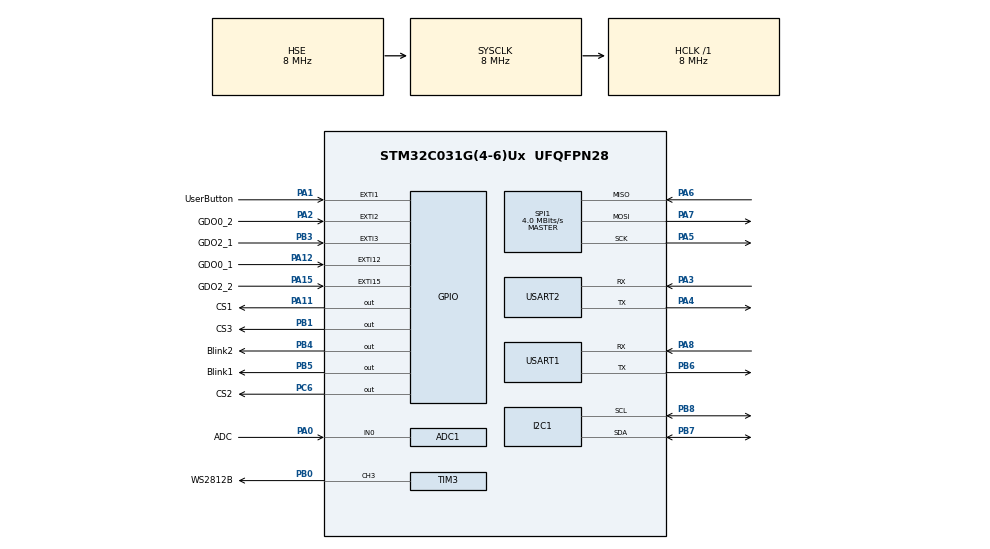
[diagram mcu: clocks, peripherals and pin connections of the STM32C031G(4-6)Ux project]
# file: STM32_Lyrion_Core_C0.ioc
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ADC1.NbrOfConversionFlag=0
ADC1.SelectedChannel=ADC_CHANNEL_0
ADC1.master=1
Dma.Request0=TIM3_CH3
Dma.TIM3_CH3.0.Direction=DMA_MEMORY_TO_PERIPH
Dma.TIM3_CH3.0.EventEnable=DISABLE
Dma.TIM3_CH3.0.Instance=DMA1_Channel1
Dma.TIM3_CH3.0.MemDataAlignment=DMA_MDATAALIGN_HALFWORD
Dma.TIM3_CH3.0.MemInc=DMA_MINC_ENABLE
Dma.TIM3_CH3.0.Mode=DMA_NORMAL
Dma.TIM3_CH3.0.PeriphDataAlignment=DMA_PDATAALIGN_HALFWORD
Dma.TIM3_CH3.0.PeriphInc=DMA_PINC_DISABLE
Dma.TIM3_CH3.0.Polarity=HAL_DMAMUX_REQ_GEN_RISING
Dma.TIM3_CH3.0.Priority=DMA_PRIORITY_LOW
Dma.TIM3_CH3.0.RequestNumber=1
Dma.TIM3_CH3.0.SignalID=NONE
Dma.TIM3_CH3.0.SyncEnable=DISABLE
Dma.TIM3_CH3.0.SyncPolarity=HAL_DMAMUX_SYNC_NO_EVENT
Dma.TIM3_CH3.0.SyncRequestNumber=1
Dma.TIM3_CH3.0.SyncSignalID=NONE
I2C1.Timing=0x00201D2B
Mcu.Family=STM32C0
Mcu.Name=STM32C031G(4-6)Ux
Mcu.Package=UFQFPN28
NVIC.DMA1_Channel1_IRQn=true\:0\:0\:false\:false\:true\:false\:true\:true
NVIC.EXTI0_1_IRQn=true\:0\:0\:false\:true\:true\:1\:true\:true\:true
NVIC.EXTI2_3_IRQn=true\:0\:0\:false\:true\:true\:4\:true\:true\:true
NVIC.EXTI4_15_IRQn=true\:0\:0\:false\:true\:true\:3\:true\:true\:true
NVIC.USART1_IRQn=true\:0\:0\:false\:true\:true\:2\:true\:true\:true
PA0.GPIO_Label=ADC
PA0.Mode=IN0
PA0.Signal=ADC1_IN0
PA1.GPIO_Label=UserButton
PA1.GPIO_PuPd=GPIO_PULLDOWN
PA1.Signal=GPXTI1
PA11\ [PA9].GPIO_Label=CS1
PA11\ [PA9].Signal=GPIO_Output
PA12\ [PA10].GPIO_Label=GDO0_1
PA12\ [PA10].GPIO_ModeDefaultEXTI=GPIO_MODE_IT_FALLING
PA12\ [PA10].GPIO_PuPd=GPIO_PULLDOWN
PA12\ [PA10].Signal=GPXTI12
PA13.Mode=Serial_Wire
PA13.Signal=DEBUG_SWDIO
PA14-BOOT0.Mode=Serial_Wire
PA14-BOOT0.Signal=DEBUG_SWCLK
PA15.GPIO_Label=GDO2_2
PA15.GPIO_PuPd=GPIO_PULLDOWN
PA15.Signal=GPXTI15
PA2.GPIO_Label=GDO0_2
PA2.GPIO_ModeDefaultEXTI=GPIO_MODE_IT_FALLING
PA2.GPIO_PuPd=GPIO_PULLDOWN
PA2.Signal=GPXTI2
PA3.Mode=Asynchronous
PA3.Signal=USART2_RX
PA4.Mode=Asynchronous
PA4.Signal=USART2_TX
PA5.Mode=Full_Duplex_Master
PA5.Signal=SPI1_SCK
PA6.Mode=Full_Duplex_Master
PA6.Signal=SPI1_MISO
PA7.Mode=Full_Duplex_Master
PA7.Signal=SPI1_MOSI
PA8.Mode=Asynchronous
PA8.Signal=USART1_RX
PB0.GPIO_Label=WS2812B
PB0.Signal=S_TIM3_CH3
PB1.GPIO_Label=CS3
PB1.Signal=GPIO_Output
PB3.GPIO_Label=GDO2_1
PB3.GPIO_PuPd=GPIO_PULLDOWN
PB3.Signal=GPXTI3
PB4.GPIO_Label=Blink2
PB4.Signal=GPIO_Output
PB5.GPIO_Label=Blink1
PB5.Signal=GPIO_Output
PB6.Mode=Asynchronous
PB6.Signal=USART1_TX
PB7.Mode=I2C
PB7.Signal=I2C1_SDA
PB8.Mode=I2C
PB8.Signal=I2C1_SCL
PC14-OSCX_IN\ (PC14).Mode=HSE-External-Oscillator-REMAPPED
PC14-OSCX_IN\ (PC14).Signal=RCC_OSCX_IN
PC15-OSCX_OUT\ (PC15).Mode=HSE-External-Oscillator-REMAPPED
PC15-OSCX_OUT\ (PC15).Signal=RCC_OSCX_OUT
PC6.GPIO_Label=CS2
PC6.Signal=GPIO_Output
ProjectManager.HeapSize=0x200
ProjectManager.StackSize=0x400
ProjectManager.TargetToolchain=STM32CubeIDE
RCC.ADCFreq_Value=8000000
RCC.AHBFreq_Value=8000000
RCC.CortexFreq_Value=8000000
RCC.EXTERNAL_CLOCK_VALUE=12288000
RCC.HCLKFreq_Value=8000000
RCC.HSE_VALUE=8000000
RCC.HSI_VALUE=48000000
RCC.LSE_VALUE=32768
RCC.SYSCLKFreq_VALUE=8000000
RCC.SYSCLKSource=RCC_SYSCLKSOURCE_HSE
SH.S_TIM3_CH3.0=TIM3_CH3,PWM Generation3 CH3
SPI1.CalculateBaudRate=4.0 MBits/s
SPI1.Direction=SPI_DIRECTION_2LINES
SPI1.Mode=SPI_MODE_MASTER
SPI1.VirtualType=VM_MASTER
TIM3.Channel-PWM\ Generation3\ CH3=TIM_CHANNEL_3
TIM3.Period=10-1
USART1.AutoBaudRateEnableParam=UART_ADVFEATURE_AUTOBAUDRATE_DISABLE
USART1.VirtualMode-Asynchronous=VM_ASYNC
USART2.VirtualMode-Asynchronous=VM_ASYNC
board=custom

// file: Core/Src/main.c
/* USER CODE BEGIN Header */
/**
  ******************************************************************************
  * @file           : main.c
  * @brief          : Main program body
  ******************************************************************************
  * @attention
  *
  * Copyright (c) 2026 STMicroelectronics.
  * All rights reserved.
  *
  * This software is licensed under terms that can be found in the LICENSE file
  * in the root directory of this software component.
  * If no LICENSE file comes with this software, it is provided AS-IS.
  *
  ******************************************************************************
  */
/* USER CODE END Header */
#include "main.h"

/* USER CODE BEGIN Includes */
#include "config.h"

#if ENABLE_WS2812
	#include "ws2812.h"
#endif
#if ENABLE_OLED
	    #include "ssd1306.h"
	#include "ssd1306_fonts.h"
#endif
#if ENABLE_TMP102
	#include "tmp102.h"
#endif
#if ENABLE_CC1101
	#include "cc1101.h"
	#include "cc1101_port.h"
#endif
#if ENABLE_AES
	#include "aes128.h"
	#include "ccm.h"
	#include "key.h"
#endif
#if ENABLE_CC1101
	#include "lyrion_link.h"
	#include "lyrion_link_types.h"
	#include "lyrion_link_packet.h"
#endif
#include <string.h>
/* USER CODE END Includes */

ADC_HandleTypeDef hadc1;

I2C_HandleTypeDef hi2c1;

SPI_HandleTypeDef hspi1;

TIM_HandleTypeDef htim3;
DMA_HandleTypeDef hdma_tim3_ch3;

UART_HandleTypeDef huart1;
UART_HandleTypeDef huart2;

/* USER CODE BEGIN PV */
uint8_t rxByte;
uint32_t lastTick = 0;
volatile uint8_t led_event = 0;       /* set to 1 by EXTI callback (LED toggled) */
#if ENABLE_I2C_SCAN
static const char hex_chars[] = "0123456789ABCDEF";
uint32_t i2c_scan_lastTick = 0;
uint32_t i2c_scan_address = 0;   /* 0 = idle, 1-127 = currently scanning */
uint8_t  i2c_scan_found = 0;    /* device count during current scan */
uint8_t  i2c_found_addrs[16];   /* addresses of found devices (7-bit) */
#endif
  #if ENABLE_CC1101
  #if CC1101_ENABLE_RADIO1
  cc1101_t radio1;
  #endif
  #if CC1101_ENABLE_RADIO2
  cc1101_t radio2;
  #endif
  static cc1101_t *cc1101_radio1     = NULL;
  static char       cc1101_rx_msg[22];
  static int8_t     cc1101_rx_rssi   = 0;
  static uint8_t    cc1101_rx_lqi    = 0;
  static volatile bool cc1101_rx_ready = false;
  #endif
  /* USER CODE END PV */

void SystemClock_Config(void);
static void MX_GPIO_Init(void);
static void MX_DMA_Init(void);
static void MX_I2C1_Init(void);
static void MX_SPI1_Init(void);
static void MX_USART1_UART_Init(void);
static void MX_USART2_UART_Init(void);
static void MX_ADC1_Init(void);
static void MX_TIM3_Init(void);
static void MX_NVIC_Init(void);

/* USER CODE BEGIN 0 */

/* Tiny uint-to-string helper for the OLED uptime line (avoids pulling stdio). */
static int uitoa(uint32_t value, char *out)
{
    char tmp[11];
    int i = 0;
    int len = 0;

    if (value == 0)
    {
        out[0] = '0';
        return 1;
    }

    while (value > 0)
    {
        tmp[i++] = (char)('0' + (value % 10U));
        value /= 10U;
    }

    while (i > 0)
    {
        out[len++] = tmp[--i];
    }
    return len;
}

#if ENABLE_TMP102 && ENABLE_OLED
/* Draw temperature on OLED line y=24 (blue area). */
static void oled_show_temp(int16_t temp)
{
    char buf[16];
    ssd1306_SetCursor(2, 8);
    ssd1306_WriteString("Temp: ", Font_6x8, White);

    if (temp == TMP102_ERROR)
    {
        ssd1306_WriteString("ERR", Font_6x8, White);
        return;
    }

    /* Handle sign for negative temperatures. */
    int32_t abs_val = temp;
    int idx = 0;
    if (abs_val < 0)
    {
        buf[idx++] = '-';
        abs_val = -abs_val;
    }

#if TMP102_DECIMAL_PLACES == 0
    idx += uitoa((uint32_t)abs_val, &buf[idx]);
#elif TMP102_DECIMAL_PLACES == 1
    idx += uitoa((uint32_t)(abs_val / 10), &buf[idx]);
    buf[idx++] = '.';
    buf[idx++] = (char)('0' + (abs_val % 10));
#elif TMP102_DECIMAL_PLACES == 2
    idx += uitoa((uint32_t)(abs_val / 100), &buf[idx]);
    buf[idx++] = '.';
    buf[idx++] = (char)('0' + ((abs_val / 10) % 10));
    buf[idx++] = (char)('0' + (abs_val % 10));
#endif
    buf[idx++] = ' ';    /* space before "C" (0xB0 degree sign not in Font6x8) */
    buf[idx++] = 'C';
    buf[idx]   = '\0';
    ssd1306_WriteString(buf, Font_6x8, White);
}
#endif

#if ENABLE_CC1101
/* Called from EXTI (rising edge on GDO0) — must be tiny, just set a flag. */
static void on_cc1101_rx_data(void)
{
    cc1101_rx_ready = true;
}
#endif

#if ENABLE_CC1101 && ENABLE_OLED
static void oled_show_rx(const char *msg, int8_t rssi, uint8_t lqi)
{
    char buf[22];

    ssd1306_FillRectangle(2, 16, 127, 31, Black);

    /* Line 2 (y=16): message */
    ssd1306_SetCursor(2, 16);
    ssd1306_WriteString("RX: ", Font_6x8, White);
    ssd1306_WriteString((char *)msg, Font_6x8, White);

    /* Line 3 (y=24): RSSI and LQI */
    ssd1306_SetCursor(2, 24);
    int idx = 0;
    static const char rp[] = "RSSI: ";
    for (; idx < (int)sizeof(rp) - 1; idx++) buf[idx] = rp[idx];
    int32_t abs_rssi = (rssi < 0) ? -rssi : rssi;
    if (rssi < 0) buf[idx++] = '-';
    idx += uitoa((uint32_t)abs_rssi, &buf[idx]);
    buf[idx++] = ' ';
    buf[idx++] = 'd'; buf[idx++] = 'B'; buf[idx++] = 'm';
    buf[idx++] = ' '; buf[idx++] = ' ';
    buf[idx++] = 'L'; buf[idx++] = 'Q'; buf[idx++] = 'I'; buf[idx++] = ':';
    idx += uitoa(lqi, &buf[idx]);
    buf[idx] = '\0';
    ssd1306_WriteString(buf, Font_6x8, White);
}
#endif

#if ENABLE_CC1101 && ENABLE_AES
/* Lyrion Link callback: when a text packet is received, display it on
 * the OLED and print to UART. */
static void ll_on_text(uint16_t src, const char *text, size_t len,
                       int8_t rssi, uint8_t lqi)
{
    #if ENABLE_UART1 && UART_DEBUG
    char buf[48];
    int idx = 0;
    static const char p0[] = "LL RX 0x";
    memcpy(&buf[idx], p0, sizeof(p0) - 1); idx += (int)(sizeof(p0) - 1);
    idx += uitoa(src, &buf[idx]);  /* hex would be better but uitoa is dec */
    static const char p1[] = " RSSI=";
    memcpy(&buf[idx], p1, sizeof(p1) - 1); idx += (int)(sizeof(p1) - 1);
    if (rssi < 0) { buf[idx++] = '-'; rssi = -rssi; }
    idx += uitoa((uint32_t)rssi, &buf[idx]);
    static const char p2[] = " LQI=";
    memcpy(&buf[idx], p2, sizeof(p2) - 1); idx += (int)(sizeof(p2) - 1);
    idx += uitoa(lqi, &buf[idx]);
    static const char p3[] = ": ";
    memcpy(&buf[idx], p3, sizeof(p3) - 1); idx += (int)(sizeof(p3) - 1);
    buf[idx] = '\0';
    HAL_UART_Transmit(&huart1, (uint8_t *)buf, idx, 100);
    HAL_UART_Transmit(&huart1, (uint8_t *)text, len, 100);
    HAL_UART_Transmit(&huart1, (uint8_t *)"\r\n", 2, 100);
    #endif

    #if ENABLE_OLED
    char oled_buf[22];
    int oi = 0;
    static const char op0[] = "R:";
    memcpy(&oled_buf[oi], op0, sizeof(op0) - 1); oi += (int)(sizeof(op0) - 1);
    if (rssi < 0) { oled_buf[oi++] = '-'; rssi = -rssi; }
    oi += uitoa((uint32_t)rssi, &oled_buf[oi]);
    static const char op1[] = " LQI:";
    memcpy(&oled_buf[oi], op1, sizeof(op1) - 1); oi += (int)(sizeof(op1) - 1);
    oi += uitoa(lqi, &oled_buf[oi]);
    oled_buf[oi] = '\0';

    ssd1306_FillRectangle(2, 16, 127, 31, Black);
    ssd1306_SetCursor(2, 16);
    ssd1306_WriteString("RX: ", Font_6x8, White);
    ssd1306_WriteString(text, Font_6x8, White);
    ssd1306_SetCursor(2, 24);
    ssd1306_WriteString(oled_buf, Font_6x8, White);
    ssd1306_UpdateScreen();
    #endif
}

static const ll_callbacks_t ll_cbs = {
    .on_text_received = ll_on_text,
};
#endif

/* USER CODE END 0 */

int main(void)
{

  /* MCU Configuration--------------------------------------------------------*/

  /* Reset of all peripherals, Initializes the Flash interface and the Systick. */
  HAL_Init();

  /* Configure the system clock */
  SystemClock_Config();

  /* USER CODE BEGIN SysInit */
  /* If HSE failed to start, fall back to HSI (48 MHz internal oscillator). */
  if ((RCC->CR & RCC_CR_HSERDY) == 0)
  {
      RCC_OscInitTypeDef RCC_OscInitStruct = {0};
      RCC_ClkInitTypeDef RCC_ClkInitStruct = {0};

      RCC_OscInitStruct.OscillatorType = RCC_OSCILLATORTYPE_HSI;
      RCC_OscInitStruct.HSIState = RCC_HSI_ON;
      RCC_OscInitStruct.HSICalibrationValue = RCC_HSICALIBRATION_DEFAULT;
      if (HAL_RCC_OscConfig(&RCC_OscInitStruct) != HAL_OK)
      {
          Error_Handler();
      }

      RCC_ClkInitStruct.ClockType = RCC_CLOCKTYPE_HCLK|RCC_CLOCKTYPE_SYSCLK|RCC_CLOCKTYPE_PCLK1;
      RCC_ClkInitStruct.SYSCLKSource = RCC_SYSCLKSOURCE_HSI;
      RCC_ClkInitStruct.SYSCLKDivider = RCC_SYSCLK_DIV1;
      RCC_ClkInitStruct.AHBCLKDivider = RCC_HCLK_DIV1;
      RCC_ClkInitStruct.APB1CLKDivider = RCC_APB1_DIV1;
      if (HAL_RCC_ClockConfig(&RCC_ClkInitStruct, FLASH_LATENCY_0) != HAL_OK)
      {
          Error_Handler();
      }
  }

  /* USER CODE END SysInit */

  /* Initialize all configured peripherals */
  MX_GPIO_Init();
  MX_DMA_Init();
  #if ENABLE_I2C
  MX_I2C1_Init();
  #endif
  #if ENABLE_SPI
  MX_SPI1_Init();
  #endif
  #if ENABLE_UART1
  MX_USART1_UART_Init();
  #endif
  #if ENABLE_UART2
  MX_USART2_UART_Init();
  #endif
  #if ENABLE_ADC
  MX_ADC1_Init();
  #endif
  #if ENABLE_WS2812
  MX_TIM3_Init();
  #endif

  /* Initialize interrupts */
  MX_NVIC_Init();
  /* USER CODE BEGIN 2 */
  /* Trigger the first OLED 1-second tick immediately on entering the
     main loop, so status text appears right away. */
  lastTick = HAL_GetTick() - 1000;

  #if ENABLE_UART1 && UART_DEBUG
  HAL_UART_Transmit(&huart1, (uint8_t *)"BOOT\r\n", 6, 100);
  #endif

 #if !ENABLE_UART1
  /* Disable USART1 interrupt if UART1 is not enabled (MX_NVIC_Init enables it unconditionally). */
  HAL_NVIC_DisableIRQ(USART1_IRQn);
  #endif
  #if ENABLE_WS2812
	  WS2812_Init();
  #endif
  #if ENABLE_OLED
	  ssd1306_Init();
  #endif

  #if ENABLE_WS2812
  WS2812_SetBrightness(0, 16);   // LED 0: 32/255 ~ 13%
  WS2812_SetBrightness(1, 16);   // LED 1: 32/255 ~ 13%
  #endif

  #if ENABLE_OLED
  ssd1306_Fill(Black);
  ssd1306_SetCursor(2, 0);
  ssd1306_WriteString("Lyrion Core C0", Font_6x8, White);
  #endif

  #if ENABLE_TMP102
  TMP102_SetConversionRate(&hi2c1, TMP102_CONV_RATE);
  #if ENABLE_OLED
  oled_show_temp(TMP102_ReadTemp(&hi2c1));
  #endif
  #endif

  #if ENABLE_OLED
  ssd1306_UpdateScreen();
  #endif

  #if ENABLE_UART1
  HAL_UART_Receive_IT(&huart1, &rxByte, 1);
  #endif

  #if ENABLE_I2C_SCAN
  /* Kick off the first I2C scan immediately at startup. */
  i2c_scan_address = 1;
  i2c_scan_found = 0;
  #endif

  #if ENABLE_CC1101
  /* SPI MISO pin for waitReady() polling (PA6 on this board). */
  #define CC1101_MISO_PORT  GPIOA
  #define CC1101_MISO_PIN   GPIO_PIN_6
  {
      uint8_t radios_ok = 0;
  #if CC1101_ENABLE_RADIO1
      cc1101_config_t cfg1 = {
          .spi = &hspi1,
          .cs_port = CS1_GPIO_Port,   .cs_pin   = CS1_Pin,
          .miso_port = CC1101_MISO_PORT, .miso_pin = CC1101_MISO_PIN,
          .gdo0_port = GDO0_1_GPIO_Port, .gdo0_pin = GDO0_1_Pin,
          .gdo2_port = GDO2_1_GPIO_Port, .gdo2_pin = GDO2_1_Pin,
      };
      cc1101_status_t st1 = cc1101_init(&radio1, &cfg1, CC1101_MOD_ASK_OOK,
                                         433.5f, 4.0f);
      if (st1 != CC1101_STATUS_OK) {
          #if ENABLE_UART1 && UART_DEBUG
          HAL_UART_Transmit(&huart1, (uint8_t *)"R1: FAIL\r\n", 9, 100);
          #endif
      } else {
          radios_ok++;
          cc1101_radio1 = &radio1;
          #if ENABLE_UART1 && UART_DEBUG
          HAL_UART_Transmit(&huart1, (uint8_t *)"R1: OK\r\n", 8, 100);
          #endif
      }
  #endif
  #if CC1101_ENABLE_RADIO2
      cc1101_config_t cfg2 = {
          .spi = &hspi1,
          .cs_port = CS2_GPIO_Port,   .cs_pin   = CS2_Pin,
          .miso_port = CC1101_MISO_PORT, .miso_pin = CC1101_MISO_PIN,
          .gdo0_port = GDO0_2_GPIO_Port, .gdo0_pin = GDO0_2_Pin,
          .gdo2_port = GDO2_2_GPIO_Port, .gdo2_pin = GDO2_2_Pin,
      };
      cc1101_status_t st2 = cc1101_init(&radio2, &cfg2, CC1101_MOD_ASK_OOK,
                                         433.5f, 4.0f);
      if (st2 != CC1101_STATUS_OK) {
          #if ENABLE_UART1 && UART_DEBUG
          HAL_UART_Transmit(&huart1, (uint8_t *)"R2: FAIL\r\n", 9, 100);
          #endif
      } else {
          radios_ok++;
          (void)radio2;
          #if ENABLE_UART1 && UART_DEBUG
          HAL_UART_Transmit(&huart1, (uint8_t *)"R2: OK\r\n", 8, 100);
          #endif
      }
  #endif
      (void)radios_ok;

      if (cc1101_radio1) {
          cc1101_t *r = cc1101_radio1;

          cc1101_set_modulation(r, CC1101_MOD_ASK_OOK);
          cc1101_set_frequency(r, 433.8f);
          cc1101_set_data_rate(r, 1.0f);
          cc1101_set_output_power(r, 10);

          cc1101_set_packet_length_mode(r, CC1101_PKT_LEN_MODE_VARIABLE, 255);
          cc1101_set_address_filtering_mode(r, CC1101_ADDR_FILTER_MODE_NONE);
          cc1101_set_preamble_length(r, 64);
          cc1101_set_sync_word(r, 0x1234);
          cc1101_set_sync_mode(r, CC1101_SYNC_MODE_16_16);
          cc1101_set_crc(r, true);
          cc1101_set_data_whitening(r, true);
          cc1101_set_manchester(r, false);
          cc1101_set_fec(r, false);

          #if ENABLE_CC1101 && ENABLE_AES
          /* Initialise Lyrion Link protocol stack. The library handles
           * AES-CCM encryption, packet framing, and SEQ duplicate
           * detection. The callbacks were registered earlier in USER CODE 0. */
          ll_config_t ll_cfg = {
              .address              = LL_NODE_ADDRESS,
              .network_id           = LL_NETWORK_ID,
              .band                 = LL_BAND,
              .channel_hz           = 433800000,
              .data_rate_index      = 1,    /* 10 kBaud */
              .output_power_index   = 7,    /* +10 dBm */
              .beacon_interval_s    = 0,    /* disabled */
              .mesh_enabled         = false,
          };
          ll_set_callbacks(&ll_cbs);
          ll_init(&ll_cfg);
          #endif

          cc1101_set_receive_action(r, on_cc1101_rx_data, CC1101_GDO0);
          cc1101_start_receive(r, 0);
      }
  }
  #endif

  /* USER CODE END 2 */

  /* Infinite loop */
  while (1)
  {

    /* USER CODE BEGIN 3 */
	#if ENABLE_WS2812
	WS2812_Example1();
	#endif

	#if ENABLE_CC1101
	#if ENABLE_CC1101 && ENABLE_AES
	/* Lyrion Link: handles AES-CCM RX, SEQ duplicate detection, and
	 * message dispatch via callbacks registered in USER CODE 0. */
	ll_task();
	#else
	/* Plaintext CC1101 RX (no encryption). */
	if (cc1101_radio1 && cc1101_rx_ready) {
	    cc1101_rx_ready = false;
	    uint8_t rx_buf[64];
	    size_t  rx_len = 0;
	    cc1101_status_t st = cc1101_read_data(cc1101_radio1, rx_buf,
	                                           sizeof(rx_buf), &rx_len);
	    if (st == CC1101_STATUS_OK) {
	        rx_buf[rx_len] = '\0';
	        size_t copy_len = rx_len;
	        if (copy_len >= sizeof(cc1101_rx_msg))
	            copy_len = sizeof(cc1101_rx_msg) - 1;
	        memcpy(cc1101_rx_msg, rx_buf, copy_len);
	        cc1101_rx_msg[copy_len] = '\0';
	        cc1101_rx_rssi  = cc1101_get_rssi(cc1101_radio1);
	        cc1101_rx_lqi   = cc1101_get_lqi(cc1101_radio1);
	        #if ENABLE_UART1 && UART_DEBUG
	        HAL_UART_Transmit(&huart1, (uint8_t *)"RX OK\r\n", 7, 100);
	        #endif
	    } else if (st == CC1101_STATUS_CRC_MISMATCH) {
	        memcpy(cc1101_rx_msg, "CRC ERR", 8);
	        cc1101_rx_rssi = cc1101_get_rssi(cc1101_radio1);
	        cc1101_rx_lqi  = cc1101_get_lqi(cc1101_radio1);
	        #if ENABLE_UART1 && UART_DEBUG
	        HAL_UART_Transmit(&huart1, (uint8_t *)"CRC ERR\r\n", 9, 100);
	        #endif
	    }
	    #if ENABLE_OLED
	    oled_show_rx(cc1101_rx_msg, cc1101_rx_rssi, cc1101_rx_lqi);
	    ssd1306_UpdateScreen();
	    #endif
	    cc1101_start_receive(cc1101_radio1, 0);
	}
	#endif
	#endif

	if (HAL_GetTick() - lastTick >= 1000)
	{
	    lastTick = HAL_GetTick();

	    #if ENABLE_TMP102 && ENABLE_OLED
	    oled_show_temp(TMP102_ReadTemp(&hi2c1));
	    #endif

	    #if ENABLE_I2C_SCAN
	    /* Start I2C scan if 30 s elapsed and no scan in progress. */
	    if (i2c_scan_address == 0 && HAL_GetTick() - i2c_scan_lastTick >= 30000)
	    {
	        i2c_scan_lastTick = HAL_GetTick();
	        i2c_scan_address = 1;
	        i2c_scan_found = 0;
	        #if ENABLE_UART1 && UART_DEBUG
	        HAL_UART_Transmit(&huart1, (uint8_t *)"I2C scan...\r\n", 13, 100);
	        #endif
	    }
	    #endif
	    #if ENABLE_OLED
	    ssd1306_UpdateScreen();
	    #endif
	}

	#if ENABLE_I2C_SCAN
	/* Non-blocking I2C scan: one address per loop iteration. */
	if (i2c_scan_address >= 1 && i2c_scan_address < 128)
	{
	    uint8_t addr = i2c_scan_address++;
	    if (HAL_I2C_IsDeviceReady(&hi2c1, (uint16_t)(addr << 1), 1, 10) == HAL_OK)
	    {
	        if (i2c_scan_found < 16)
	            i2c_found_addrs[i2c_scan_found] = addr;
	        i2c_scan_found++;
	        #if ENABLE_UART1 && UART_DEBUG
	        char devMsg[] = "  Found 0x00\r\n";
	        devMsg[9] = hex_chars[(addr >> 4) & 0x0F];
	        devMsg[10] = hex_chars[addr & 0x0F];
	        HAL_UART_Transmit(&huart1, (uint8_t *)devMsg, sizeof(devMsg) - 1, 100);
	        #endif
	    }
	    if (i2c_scan_address >= 128)
	    {
	        i2c_scan_address = 0;
	        #if ENABLE_UART1 && UART_DEBUG
	        HAL_UART_Transmit(&huart1, (uint8_t *)"I2C scan done.\r\n", 16, 100);
	        #endif
	        #if ENABLE_OLED
	        {
	            char addrStr[5] = "0x00";
	            ssd1306_SetCursor(2, 56);
	            ssd1306_WriteString("I2C:", Font_6x8, White);
	            if (i2c_scan_found > 0)
	            {
	                uint8_t show = i2c_scan_found;
	                if (show > 16) show = 16;
	                for (uint8_t i = 0; i < show; i++)
	                {
	                    uint8_t a = i2c_found_addrs[i];
	                    addrStr[2] = hex_chars[(a >> 4) & 0x0F];
	                    addrStr[3] = hex_chars[a & 0x0F];
	                    ssd1306_WriteString(" ", Font_6x8, White);
	                    ssd1306_WriteString(addrStr, Font_6x8, White);
	                }
	            }
	            else
	            {
	                ssd1306_WriteString(" X", Font_6x8, White);
	            }
	        }
	        #endif
	        #if ENABLE_OLED
	        ssd1306_UpdateScreen();
	        #endif
	    }
	}
	#endif /* ENABLE_I2C_SCAN */
  }
  /* USER CODE END 3 */
}

void SystemClock_Config(void)
{
  RCC_OscInitTypeDef RCC_OscInitStruct = {0};
  RCC_ClkInitTypeDef RCC_ClkInitStruct = {0};

  __HAL_FLASH_SET_LATENCY(FLASH_LATENCY_0);

  /** Initializes the RCC Oscillators according to the specified parameters
  * in the RCC_OscInitTypeDef structure.
  */
  RCC_OscInitStruct.OscillatorType = RCC_OSCILLATORTYPE_HSE;
  RCC_OscInitStruct.HSEState = RCC_HSE_ON;
  if (HAL_RCC_OscConfig(&RCC_OscInitStruct) != HAL_OK)
  {
    Error_Handler();
  }

  /** Initializes the CPU, AHB and APB buses clocks
  */
  RCC_ClkInitStruct.ClockType = RCC_CLOCKTYPE_HCLK|RCC_CLOCKTYPE_SYSCLK
                              |RCC_CLOCKTYPE_PCLK1;
  RCC_ClkInitStruct.SYSCLKSource = RCC_SYSCLKSOURCE_HSE;
  RCC_ClkInitStruct.SYSCLKDivider = RCC_SYSCLK_DIV1;
  RCC_ClkInitStruct.AHBCLKDivider = RCC_HCLK_DIV1;
  RCC_ClkInitStruct.APB1CLKDivider = RCC_APB1_DIV1;

  if (HAL_RCC_ClockConfig(&RCC_ClkInitStruct, FLASH_LATENCY_0) != HAL_OK)
  {
    Error_Handler();
  }
}

/**
  * @brief NVIC Configuration.
  * @retval None
  */
static void MX_NVIC_Init(void)
{
  /* EXTI0_1_IRQn interrupt configuration */
  HAL_NVIC_SetPriority(EXTI0_1_IRQn, 0, 0);
  HAL_NVIC_EnableIRQ(EXTI0_1_IRQn);
  /* USART1_IRQn interrupt configuration */
  HAL_NVIC_SetPriority(USART1_IRQn, 0, 0);
  HAL_NVIC_EnableIRQ(USART1_IRQn);
  /* EXTI4_15_IRQn interrupt configuration */
  HAL_NVIC_SetPriority(EXTI4_15_IRQn, 0, 0);
  HAL_NVIC_EnableIRQ(EXTI4_15_IRQn);
  /* EXTI2_3_IRQn interrupt configuration */
  HAL_NVIC_SetPriority(EXTI2_3_IRQn, 0, 0);
  HAL_NVIC_EnableIRQ(EXTI2_3_IRQn);
}

static void MX_ADC1_Init(void)
{

  ADC_ChannelConfTypeDef sConfig = {0};

  /** Configure the global features of the ADC (Clock, Resolution, Data Alignment and number of conversion)
  */
  hadc1.Instance = ADC1;
  hadc1.Init.ClockPrescaler = ADC_CLOCK_SYNC_PCLK_DIV1;
  hadc1.Init.Resolution = ADC_RESOLUTION_12B;
  hadc1.Init.DataAlign = ADC_DATAALIGN_RIGHT;
  hadc1.Init.ScanConvMode = ADC_SCAN_SEQ_FIXED;
  hadc1.Init.EOCSelection = ADC_EOC_SINGLE_CONV;
  hadc1.Init.LowPowerAutoWait = DISABLE;
  hadc1.Init.LowPowerAutoPowerOff = DISABLE;
  hadc1.Init.ContinuousConvMode = DISABLE;
  hadc1.Init.NbrOfConversion = 1;
  hadc1.Init.DiscontinuousConvMode = DISABLE;
  hadc1.Init.ExternalTrigConv = ADC_SOFTWARE_START;
  hadc1.Init.ExternalTrigConvEdge = ADC_EXTERNALTRIGCONVEDGE_NONE;
  hadc1.Init.DMAContinuousRequests = DISABLE;
  hadc1.Init.Overrun = ADC_OVR_DATA_PRESERVED;
  hadc1.Init.SamplingTimeCommon1 = ADC_SAMPLETIME_1CYCLE_5;
  hadc1.Init.OversamplingMode = DISABLE;
  hadc1.Init.TriggerFrequencyMode = ADC_TRIGGER_FREQ_HIGH;
  if (HAL_ADC_Init(&hadc1) != HAL_OK)
  {
    Error_Handler();
  }

  /** Configure Regular Channel
  */
  sConfig.Channel = ADC_CHANNEL_0;
  sConfig.Rank = ADC_RANK_CHANNEL_NUMBER;
  if (HAL_ADC_ConfigChannel(&hadc1, &sConfig) != HAL_OK)
  {
    Error_Handler();
  }

}

static void MX_I2C1_Init(void)
{

  hi2c1.Instance = I2C1;
  hi2c1.Init.Timing = 0x00201D2B;
  hi2c1.Init.OwnAddress1 = 0;
  hi2c1.Init.AddressingMode = I2C_ADDRESSINGMODE_7BIT;
  hi2c1.Init.DualAddressMode = I2C_DUALADDRESS_DISABLE;
  hi2c1.Init.OwnAddress2 = 0;
  hi2c1.Init.OwnAddress2Masks = I2C_OA2_NOMASK;
  hi2c1.Init.GeneralCallMode = I2C_GENERALCALL_DISABLE;
  hi2c1.Init.NoStretchMode = I2C_NOSTRETCH_DISABLE;
  if (HAL_I2C_Init(&hi2c1) != HAL_OK)
  {
    Error_Handler();
  }

  /** Configure Analogue filter
  */
  if (HAL_I2CEx_ConfigAnalogFilter(&hi2c1, I2C_ANALOGFILTER_ENABLE) != HAL_OK)
  {
    Error_Handler();
  }

  /** Configure Digital filter
  */
  if (HAL_I2CEx_ConfigDigitalFilter(&hi2c1, 0) != HAL_OK)
  {
    Error_Handler();
  }

}

static void MX_SPI1_Init(void)
{

  /* SPI1 parameter configuration*/
  hspi1.Instance = SPI1;
  hspi1.Init.Mode = SPI_MODE_MASTER;
  hspi1.Init.Direction = SPI_DIRECTION_2LINES;
  hspi1.Init.DataSize = SPI_DATASIZE_8BIT;
  hspi1.Init.CLKPolarity = SPI_POLARITY_LOW;
  hspi1.Init.CLKPhase = SPI_PHASE_1EDGE;
  hspi1.Init.NSS = SPI_NSS_SOFT;
  hspi1.Init.BaudRatePrescaler = SPI_BAUDRATEPRESCALER_2;
  hspi1.Init.FirstBit = SPI_FIRSTBIT_MSB;
  hspi1.Init.TIMode = SPI_TIMODE_DISABLE;
  hspi1.Init.CRCCalculation = SPI_CRCCALCULATION_DISABLE;
  hspi1.Init.CRCPolynomial = 7;
  hspi1.Init.CRCLength = SPI_CRC_LENGTH_DATASIZE;
  hspi1.Init.NSSPMode = SPI_NSS_PULSE_ENABLE;
  if (HAL_SPI_Init(&hspi1) != HAL_OK)
  {
    Error_Handler();
  }
  /* USER CODE BEGIN SPI1_Init 2 */

  /* Dynamic SPI clock: if HSE failed (HSI fallback, 48 MHz), prescaler 2
     would give 24 MHz SPI ??? the CC1101 max is 10 MHz, causing bit errors.
     Adjust the prescaler so SPI ??? 6 MHz regardless of system clock.
     Run this FIRST because HAL_SPI_Init below would re-call HAL_SPI_MspInit
     which resets GPIO speed to LOW ??? so we fix GPIO speed AFTER. */
  {
      uint32_t apb1 = HAL_RCC_GetPCLK1Freq();
      uint32_t br_val = (hspi1.Instance->CR1 & SPI_CR1_BR) >> SPI_CR1_BR_Pos;
      uint32_t divisor = 2u << br_val;  /* 0???2, 1???4, 2???8, 3???16, ??? */
      uint32_t spi_speed = apb1 / divisor;
      if (spi_speed > 10000000) {
          hspi1.Init.BaudRatePrescaler = SPI_BAUDRATEPRESCALER_8;
          __HAL_SPI_DISABLE(&hspi1);
          HAL_SPI_Init(&hspi1);
          __HAL_SPI_ENABLE(&hspi1);
      }
  }

  /* Reconfigure SPI GPIO pins to HIGH speed AFTER any potential re-init
     above (HAL_SPI_Init resets speed to LOW via HAL_SPI_MspInit). */
  {
      GPIO_InitTypeDef GPIO_InitStruct = {0};
      GPIO_InitStruct.Pin = GPIO_PIN_5|GPIO_PIN_6|GPIO_PIN_7;
      GPIO_InitStruct.Mode = GPIO_MODE_AF_PP;
      GPIO_InitStruct.Pull = GPIO_NOPULL;
      GPIO_InitStruct.Speed = GPIO_SPEED_FREQ_HIGH;
      GPIO_InitStruct.Alternate = GPIO_AF0_SPI1;
      HAL_GPIO_Init(GPIOA, &GPIO_InitStruct);
  }

  /* Disable NSS pulse mode.  NSSP can cause inter-byte NSS pulses that
     confuse the CC1101 SPI state machine during burst writes. */
  CLEAR_BIT(hspi1.Instance->CR2, SPI_CR2_NSSP);
  /* USER CODE END SPI1_Init 2 */

}

static void MX_TIM3_Init(void)
{

  TIM_MasterConfigTypeDef sMasterConfig = {0};
  TIM_OC_InitTypeDef sConfigOC = {0};

  htim3.Instance = TIM3;
  htim3.Init.Prescaler = 0;
  htim3.Init.CounterMode = TIM_COUNTERMODE_UP;
  htim3.Init.Period = 10-1;
  htim3.Init.ClockDivision = TIM_CLOCKDIVISION_DIV1;
  htim3.Init.AutoReloadPreload = TIM_AUTORELOAD_PRELOAD_DISABLE;
  if (HAL_TIM_PWM_Init(&htim3) != HAL_OK)
  {
    Error_Handler();
  }
  sMasterConfig.MasterOutputTrigger = TIM_TRGO_RESET;
  sMasterConfig.MasterSlaveMode = TIM_MASTERSLAVEMODE_DISABLE;
  if (HAL_TIMEx_MasterConfigSynchronization(&htim3, &sMasterConfig) != HAL_OK)
  {
    Error_Handler();
  }
  sConfigOC.OCMode = TIM_OCMODE_PWM1;
  sConfigOC.Pulse = 0;
  sConfigOC.OCPolarity = TIM_OCPOLARITY_HIGH;
  sConfigOC.OCFastMode = TIM_OCFAST_DISABLE;
  if (HAL_TIM_PWM_ConfigChannel(&htim3, &sConfigOC, TIM_CHANNEL_3) != HAL_OK)
  {
    Error_Handler();
  }
  HAL_TIM_MspPostInit(&htim3);

}

static void MX_USART1_UART_Init(void)
{

  huart1.Instance = USART1;
  huart1.Init.BaudRate = 115200;
  huart1.Init.WordLength = UART_WORDLENGTH_8B;
  huart1.Init.StopBits = UART_STOPBITS_1;
  huart1.Init.Parity = UART_PARITY_NONE;
  huart1.Init.Mode = UART_MODE_TX_RX;
  huart1.Init.HwFlowCtl = UART_HWCONTROL_NONE;
  huart1.Init.OverSampling = UART_OVERSAMPLING_16;
  huart1.Init.OneBitSampling = UART_ONE_BIT_SAMPLE_DISABLE;
  huart1.Init.ClockPrescaler = UART_PRESCALER_DIV1;
  huart1.AdvancedInit.AdvFeatureInit = UART_ADVFEATURE_NO_INIT;
  if (HAL_UART_Init(&huart1) != HAL_OK)
  {
    Error_Handler();
  }
  if (HAL_UARTEx_SetTxFifoThreshold(&huart1, UART_TXFIFO_THRESHOLD_1_8) != HAL_OK)
  {
    Error_Handler();
  }
  if (HAL_UARTEx_SetRxFifoThreshold(&huart1, UART_RXFIFO_THRESHOLD_1_8) != HAL_OK)
  {
    Error_Handler();
  }
  if (HAL_UARTEx_DisableFifoMode(&huart1) != HAL_OK)
  {
    Error_Handler();
  }

}

static void MX_USART2_UART_Init(void)
{

  huart2.Instance = USART2;
  huart2.Init.BaudRate = 115200;
  huart2.Init.WordLength = UART_WORDLENGTH_8B;
  huart2.Init.StopBits = UART_STOPBITS_1;
  huart2.Init.Parity = UART_PARITY_NONE;
  huart2.Init.Mode = UART_MODE_TX_RX;
  huart2.Init.HwFlowCtl = UART_HWCONTROL_NONE;
  huart2.Init.OverSampling = UART_OVERSAMPLING_16;
  huart2.Init.OneBitSampling = UART_ONE_BIT_SAMPLE_DISABLE;
  huart2.Init.ClockPrescaler = UART_PRESCALER_DIV1;
  huart2.AdvancedInit.AdvFeatureInit = UART_ADVFEATURE_NO_INIT;
  if (HAL_UART_Init(&huart2) != HAL_OK)
  {
    Error_Handler();
  }

}

static void MX_DMA_Init(void)
{

  /* DMA controller clock enable */
  __HAL_RCC_DMA1_CLK_ENABLE();

  /* DMA interrupt init */
  /* DMA1_Channel1_IRQn interrupt configuration */
  HAL_NVIC_SetPriority(DMA1_Channel1_IRQn, 0, 0);
  HAL_NVIC_EnableIRQ(DMA1_Channel1_IRQn);

}

static void MX_GPIO_Init(void)
{
  GPIO_InitTypeDef GPIO_InitStruct = {0};

  /* GPIO Ports Clock Enable */
  __HAL_RCC_GPIOC_CLK_ENABLE();
  __HAL_RCC_GPIOA_CLK_ENABLE();
  __HAL_RCC_GPIOB_CLK_ENABLE();

  /*Configure GPIO pin Output Level */
  HAL_GPIO_WritePin(GPIOB, CS3_Pin|Blink2_Pin|Blink1_Pin, GPIO_PIN_RESET);

  /*Configure GPIO pin Output Level */
  HAL_GPIO_WritePin(CS2_GPIO_Port, CS2_Pin, GPIO_PIN_RESET);

  /*Configure GPIO pin Output Level */
  HAL_GPIO_WritePin(CS1_GPIO_Port, CS1_Pin, GPIO_PIN_RESET);

  /*Configure GPIO pins : UserButton_Pin GDO2_2_Pin */
  GPIO_InitStruct.Pin = UserButton_Pin|GDO2_2_Pin;
  GPIO_InitStruct.Mode = GPIO_MODE_IT_RISING;
  GPIO_InitStruct.Pull = GPIO_PULLDOWN;
  HAL_GPIO_Init(GPIOA, &GPIO_InitStruct);

  /*Configure GPIO pins : GDO0_2_Pin GDO0_1_Pin */
  GPIO_InitStruct.Pin = GDO0_2_Pin|GDO0_1_Pin;
  GPIO_InitStruct.Mode = GPIO_MODE_IT_FALLING;
  GPIO_InitStruct.Pull = GPIO_PULLDOWN;
  HAL_GPIO_Init(GPIOA, &GPIO_InitStruct);

  /*Configure GPIO pins : CS3_Pin Blink2_Pin Blink1_Pin */
  GPIO_InitStruct.Pin = CS3_Pin|Blink2_Pin|Blink1_Pin;
  GPIO_InitStruct.Mode = GPIO_MODE_OUTPUT_PP;
  GPIO_InitStruct.Pull = GPIO_NOPULL;
  GPIO_InitStruct.Speed = GPIO_SPEED_FREQ_LOW;
  HAL_GPIO_Init(GPIOB, &GPIO_InitStruct);

  /*Configure GPIO pin : CS2_Pin */
  GPIO_InitStruct.Pin = CS2_Pin;
  GPIO_InitStruct.Mode = GPIO_MODE_OUTPUT_PP;
  GPIO_InitStruct.Pull = GPIO_NOPULL;
  GPIO_InitStruct.Speed = GPIO_SPEED_FREQ_LOW;
  HAL_GPIO_Init(CS2_GPIO_Port, &GPIO_InitStruct);

  /*Configure GPIO pin : CS1_Pin */
  GPIO_InitStruct.Pin = CS1_Pin;
  GPIO_InitStruct.Mode = GPIO_MODE_OUTPUT_PP;
  GPIO_InitStruct.Pull = GPIO_NOPULL;
  GPIO_InitStruct.Speed = GPIO_SPEED_FREQ_LOW;
  HAL_GPIO_Init(CS1_GPIO_Port, &GPIO_InitStruct);

  /*Configure GPIO pin : GDO2_1_Pin */
  GPIO_InitStruct.Pin = GDO2_1_Pin;
  GPIO_InitStruct.Mode = GPIO_MODE_IT_RISING;
  GPIO_InitStruct.Pull = GPIO_PULLDOWN;
  HAL_GPIO_Init(GDO2_1_GPIO_Port, &GPIO_InitStruct);

  /* USER CODE BEGIN MX_GPIO_Init_2 */
  #if ENABLE_CC1101
  /* The CC1101 outputs a 26 MHz clock on GDO0/GDO2 after power-on (before
   * IOCFG is written by cc1101_init). Mask the EXTI lines here so the edges
   * cannot fire ISRs and livelock the system. The CC1101 driver unmaskes a
   * line in cc1101_port_attach_interrupt() only after the corresponding GDO
   * signal has been configured (set_receive/transmit_action). */
  EXTI->IMR1 &= ~(GDO0_2_Pin | GDO0_1_Pin | GDO2_2_Pin | GDO2_1_Pin);
  EXTI->RPR1  =  (GDO0_2_Pin | GDO0_1_Pin | GDO2_2_Pin | GDO2_1_Pin);
  EXTI->FPR1  =  (GDO0_2_Pin | GDO0_1_Pin | GDO2_2_Pin | GDO2_1_Pin);
  #endif
  /* USER CODE END MX_GPIO_Init_2 */
}

/* USER CODE BEGIN 4 */
void HAL_GPIO_EXTI_Rising_Callback(uint16_t GPIO_Pin)
{
  if (GPIO_Pin == UserButton_Pin)
  {
    HAL_GPIO_TogglePin(Blink1_GPIO_Port, Blink1_Pin);
    led_event = 1;
  }
  #if ENABLE_CC1101
  /* Dispatch GDO rising edges (RX-ready) to the CC1101 callback registry. */
  cc1101_on_rising_edge(GPIO_Pin);
  #endif
}

#if ENABLE_CC1101
void HAL_GPIO_EXTI_Falling_Callback(uint16_t GPIO_Pin)
{
  /* Dispatch GDO falling edges (TX-complete) to the CC1101 callback registry. */
  cc1101_on_falling_edge(GPIO_Pin);
}
#endif

#if ENABLE_UART1
void HAL_UART_RxCpltCallback(UART_HandleTypeDef *huart)
{
    if (huart->Instance == USART1)
    {
        // echo received byte
        HAL_UART_Transmit(&huart1, &rxByte, 1, 10);

        // restart interrupt reception
        HAL_UART_Receive_IT(&huart1, &rxByte, 1);
    }
}
#endif
/* USER CODE END 4 */

void Error_Handler(void)
{
  __disable_irq();
  while (1)
  {
  }
}
